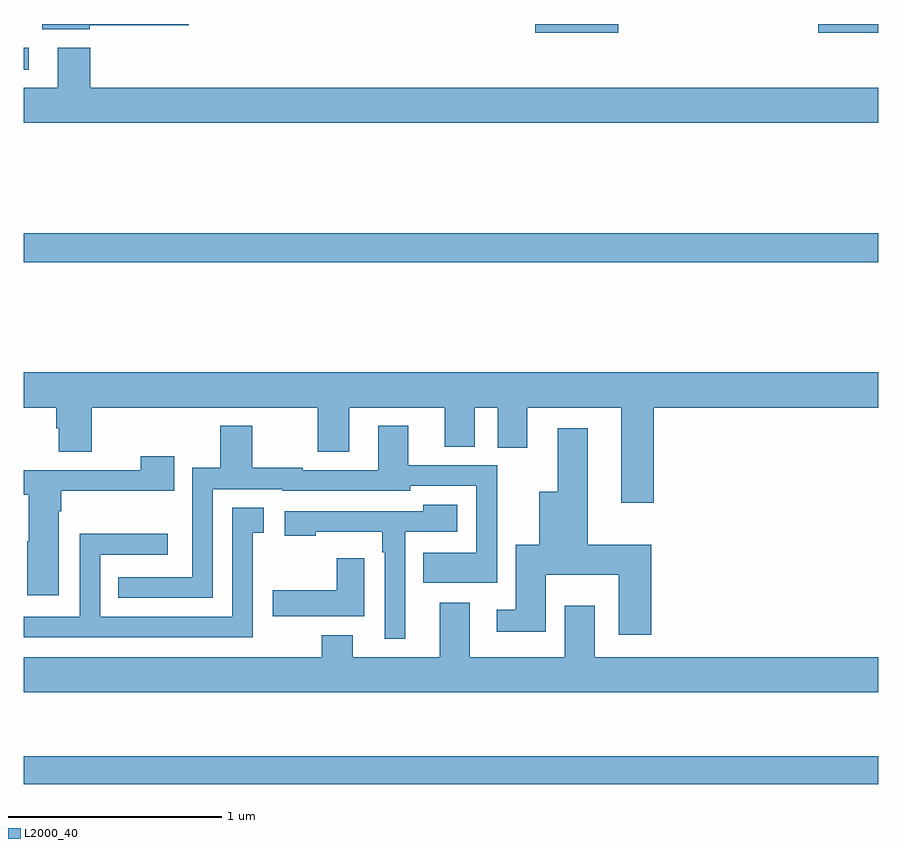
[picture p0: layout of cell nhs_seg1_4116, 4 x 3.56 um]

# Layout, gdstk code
import gdstk
lib = gdstk.Library(unit=1e-6, precision=1e-09)
def R(c, l, rs):  # rectangles x0, y0, x1, y1
    for r in rs: c.add(gdstk.rectangle(r[:2], r[2:], *l))
def P(c, l, *ps):  # polygons
    for p in ps: c.add(gdstk.Polygon(p, *l))
L2000_40 = (2000, 40)

nhs_seg1_4116 = lib.new_cell('nhs_seg1_4116')
R(nhs_seg1_4116, L2000_40, [(335,544.642,339,544.771), (335,547.084,339,547.22), (335,547.986,335.023,548.088), (337.394,548.159,337.783,548.199), (338.718,548.159,339,548.199)])
P(nhs_seg1_4116, L2000_40, [(335.31,548.194),(335.772,548.194),(335.772,548.199),(335.087,548.199),(335.087,548.174),(335.31,548.174)],
  [(339,547.9),(335.312,547.9),(335.312,548.089),(335.159,548.089),(335.159,547.9),(335,547.9),(335,547.736),(339,547.736)],
  [(337.949,546.404),(339,546.404),(339,546.568),(335,546.568),(335,546.404),(335.153,546.404),(335.153,546.306),(335.165,546.306),(335.165,546.196),(335.318,546.196),(335.318,546.404),(336.376,546.404),(336.376,546.198),(336.523,546.198),(336.523,546.404),(336.971,546.404),(336.971,546.22),(337.111,546.22),(337.111,546.404),(337.218,546.404),(337.218,546.216),(337.357,546.216),(337.357,546.404),(337.796,546.404),(337.796,545.958),(337.949,545.958)],
  [(335.886,546.021),(336.21,546.021),(336.21,546.015),(336.81,546.015),(336.81,546.039),(337.119,546.039),(337.119,545.725),(336.871,545.725),(336.871,545.585),(337.217,545.585),(337.217,546.135),(336.799,546.135),(336.799,546.319),(336.659,546.319),(336.659,546.111),(336.306,546.111),(336.306,546.122),(336.069,546.122),(336.069,546.319),(335.921,546.319),(335.921,546.122),(335.79,546.122),(335.79,545.61),(335.443,545.61),(335.443,545.514),(335.886,545.514)],
  [(337.937,545.761),(337.639,545.761),(337.639,546.307),(337.499,546.307),(337.499,546.01),(337.412,546.01),(337.412,545.761),(337.304,545.761),(337.304,545.458),(337.215,545.458),(337.215,545.354),(337.444,545.354),(337.444,545.621),(337.784,545.621),(337.784,545.34),(337.937,545.34)],
  [(335.164,545.918),(335.177,545.918),(335.177,546.014),(335.597,546.014),(335.597,546.015),(335.705,546.015),(335.705,546.175),(335.549,546.175),(335.549,546.111),(335,546.111),(335,545.995),(335.024,545.995),(335.024,545.778),(335.017,545.778),(335.017,545.526),(335.164,545.526)],
  [(336.786,545.823),(337.03,545.823),(337.03,545.95),(336.869,545.95),(336.869,545.919),(336.222,545.919),(336.222,545.804),(336.366,545.804),(336.366,545.823),(336.678,545.823),(336.678,545.726),(336.69,545.726),(336.69,545.322),(336.786,545.322)],
  [(336.072,545.818),(336.124,545.818),(336.124,545.936),(335.976,545.936),(335.976,545.424),(335.358,545.424),(335.358,545.715),(335.674,545.715),(335.674,545.813),(335.262,545.813),(335.262,545.424),(335,545.424),(335,545.328),(336.072,545.328)],
  [(336.595,545.698),(336.466,545.698),(336.466,545.548),(336.165,545.548),(336.165,545.426),(336.595,545.426)],
  [(336.394,545.338),(336.394,545.236),(335,545.236),(335,545.072),(339,545.072),(339,545.236),(337.672,545.236),(337.672,545.476),(337.532,545.476),(337.532,545.236),(337.087,545.236),(337.087,545.491),(336.947,545.491),(336.947,545.236),(336.541,545.236),(336.541,545.338)])

lib.write_gds('nhs_seg1_4116.gds')
